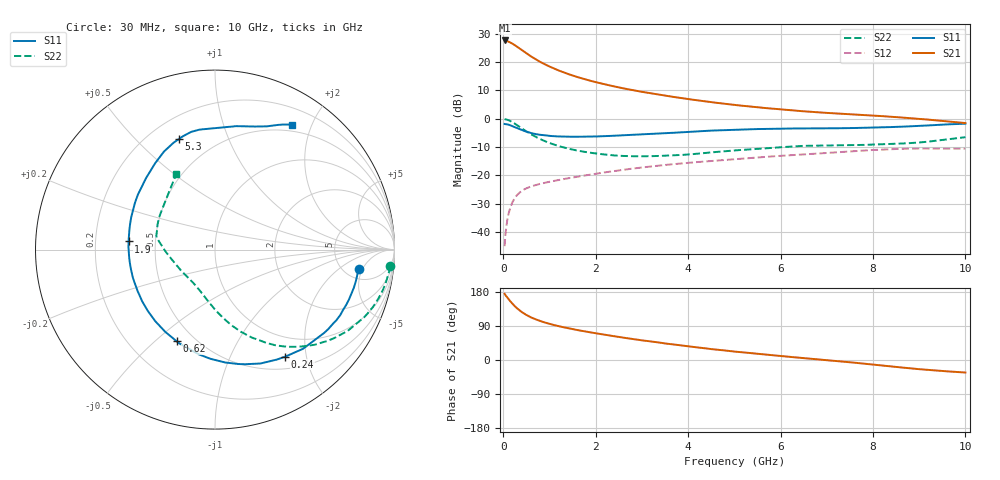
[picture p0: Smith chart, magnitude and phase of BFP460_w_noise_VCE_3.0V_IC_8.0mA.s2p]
! (c) 2016  Infineon Technologies AG, Munich
! Infineon Technologies  Discrete & RF Semiconductors
! BFP460
! VCE =  3.0 V,  IC =  8.0 mA
! Common Emitter S-Parameters:  Jan 2016
# GHz  S  MA  R  50
!  f  S11  S21  S12  S22
! GHz  MAG  ANG  MAG  ANG  MAG  ANG  MAG  ANG
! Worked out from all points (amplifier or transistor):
!   229 points, 30 MHz to 10 GHz, reference 50 ohm
!   highest |S21| = 27.6 dB at 30 MHz (marker M1)
!   |S21| within 3 dB of that: start of sweep to 367.3 MHz
!   unconditionally stable (mu >= 1): 2.642 GHz to 7.828 GHz
!   at 280 MHz: K = 0.23, MSG = 26.5 dB, |S12| = -27.4 dB
!   at 1.78 GHz: K = 0.88, MSG = 16.9 dB, |S12| = -20.0 dB
!   at 10 GHz: K = 0.96, MSG = 4.5 dB, |S12| = -10.6 dB
!   lowest NFmin = 0.89 dB at 450 MHz
!   S11 on the Smith chart (normalised r, x): 30 MHz: 6.78, -4.16; 240 MHz: 0.68, -1.64; 620 MHz: 0.40, -0.59; 1.9 GHz: 0.35, +0.04; 5.3 GHz: 0.32, +0.68; 10 GHz: 0.41, +1.71
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0.03  0.8072 -7.6  24.09 174.7  0.0056 85.3  0.9806 -5.4
0.07  0.7983 -18.0  23.77 167.5  0.0131 80.6  0.9671 -11.8
0.14  0.7715 -34.8  22.55 156.9  0.0248 72.5  0.9208 -22.9
0.2  0.7389 -48.4  21.17 148.3  0.0335 66.3  0.8669 -31.5
0.24  0.7134 -56.7  20.17 143.2  0.0384 62.8  0.8272 -36.6
0.3  0.6833 -68.2  18.68 136.3  0.0448 58.1  0.7683 -43.6
0.36  0.6505 -78.5  17.23 130.2  0.0499 54.4  0.711 -49.6
0.42  0.6213 -87.8  15.88 125.0  0.0542 51.4  0.6585 -54.9
0.5  0.5902 -98.9  14.28 118.9  0.0589 48.4  0.5967 -60.9
0.62  0.5531 -112.8  12.32 111.6  0.0643 45.2  0.5211 -68.2
0.8  0.5194 -129.9  10.07 102.7  0.0707 42.5  0.4364 -77.1
1  0.4978 -144.5  8.351 95.3  0.0768 41.3  0.3724 -84.6
1.3  0.4834 -161.3  6.603 86.5  0.0855 40.8  0.3118 -93.6
1.7  0.4809 -178.3  5.153 76.9  0.0973 40.7  0.2646 -103.5
1.9  0.4839 174.6  4.643 72.6  0.1034 40.5  0.2494 -108.1
2.6  0.5088 153.7  3.435 58.9  0.1252 39.0  0.2196 -125.5
3.4  0.5473 135.8  2.631 45.6  0.1493 35.6  0.2202 -145.3
5.1  0.6417 110.1  1.717 21.2  0.1949 27.6  0.2786 -178.7
5.3  0.6483 108.0  1.651 18.9  0.2008 26.6  0.2854 179.1
6.8  0.6738 94.4  1.299 1.9  0.2421 18.0  0.334 167.4
8.4  0.7114 74.7  1.081 -17.1  0.29 5.7  0.3581 150.7
10  0.817 58.5  0.837 -33.1  0.2964 -6.3  0.4715 117.3
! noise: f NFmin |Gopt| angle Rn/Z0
0.45  0.89  0.2  13  0.14
1.9  1.1  0.09  121  0.12
3.5  1.17  0.33  -142  0.11
